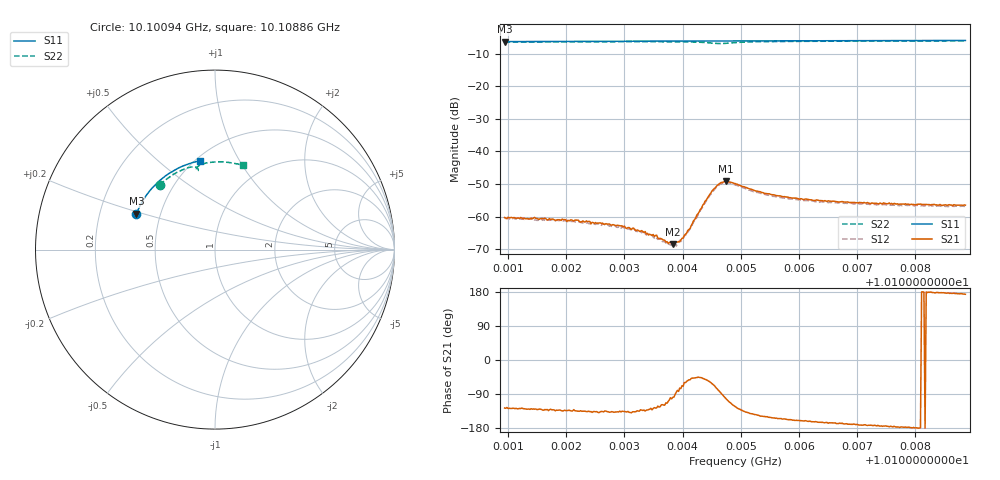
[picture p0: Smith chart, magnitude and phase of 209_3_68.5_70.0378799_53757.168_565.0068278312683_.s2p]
#  HZ  S  RI  R  50.00
! Rohde & Schwarz Vector Network Analyzer
! Rohde-Schwarz,ZNB20-2Port,1311601062101988,3.16
! Created: UTC 3/20/2024, 4:57:58 PM
! freq[Hz]  re:S11  im:S11  re:S21  im:S21  re:S12  im:S12  re:S22  im:S22
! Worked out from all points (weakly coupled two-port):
!   401 points, 10.10094 GHz to 10.10886 GHz, reference 50 ohm
!   highest |S21| = -49.19 dB at 10.10474 GHz (marker M1); lowest = -68.4 dB at 10.10383 GHz (marker M2)
!   lowest |S11| = -6.3 dB at 10.10094 GHz (marker M3), VSWR 2.86, Z = 18.2 + j9.49 ohm
!   |S11| at or under -10 dB: nowhere
!   |S22| runs from -6.9 to -6.1 dB; largest |S21 - S12| = 0.00035
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1.0100942e10  -0.4382 0.2001  -0.000583 -0.000783  -0.000511 -0.000804  -0.3083 0.3605
1.0101615e10  -0.4215 0.2377  -0.000632 -0.000693  -0.000555 -0.000718  -0.2752 0.3888
1.0102268e10  -0.4022 0.2725  -0.0006 -0.000592  -0.000527 -0.000613  -0.2403 0.4134
1.0102664e10  -0.3894 0.2928  -0.000539 -0.000548  -0.000502 -0.000556  -0.2181 0.4268
1.010296e10  -0.379 0.3076  -0.000512 -0.000511  -0.000467 -0.000521  -0.2005 0.436
1.0103317e10  -0.3659 0.3248  -0.000407 -0.000434  -0.000374 -0.000452  -0.1786 0.4461
1.0103594e10  -0.355 0.3376  -0.000259 -0.00038  -0.000242 -0.000392  -0.1605 0.4529
1.0103772e10  -0.3479 0.3457  -0.000107 -0.000389  -8.4e-05 -0.000368  -0.1483 0.4567
1.0103831e10  -0.3453 0.3484  -5.48e-05 -0.000374  -8.23e-06 -0.000354  -0.1439 0.4579
1.010393e10  -0.3414 0.3528  5.08e-05 -0.000411  0.000119 -0.000386  -0.1366 0.4594
1.0104029e10  -0.3371 0.3572  0.000263 -0.000448  0.000255 -0.000433  -0.1289 0.4606
1.0104108e10  -0.3339 0.3606  0.000392 -0.000504  0.000418 -0.000453  -0.1225 0.4611
1.0104425e10  -0.32 0.374  0.00114 -0.00155  0.00123 -0.00137  -0.0969 0.4533
1.0104544e10  -0.3146 0.3786  0.00104 -0.0025  0.00116 -0.0023  -0.093 0.4447
1.0104643e10  -0.3102 0.3826  0.000308 -0.00325  0.000595 -0.0031  -0.0965 0.4395
1.0104742e10  -0.3058 0.3866  -0.00071 -0.0034  -0.000373 -0.0033  -0.102 0.4416
1.01049e10  -0.2986 0.3927  -0.00174 -0.00272  -0.00145 -0.00272  -0.1024 0.4534
1.0105177e10  -0.2855 0.4032  -0.00208 -0.00164  -0.00179 -0.00173  -0.0863 0.4698
1.0105474e10  -0.271 0.4142  -0.00197 -0.00109  -0.00176 -0.00121  -0.0653 0.4782
1.0106226e10  -0.2328 0.4388  -0.00172 -0.000535  -0.00161 -0.000675  -0.0138 0.4873
1.0107552e10  -0.1603 0.4731  -0.00162 -0.000102  -0.0015 -0.000262  0.0726 0.4859
1.0108858e10  -0.0844 0.4947  -0.0015 0.000172  -0.00145 1.67e-05  0.1547 0.4693
